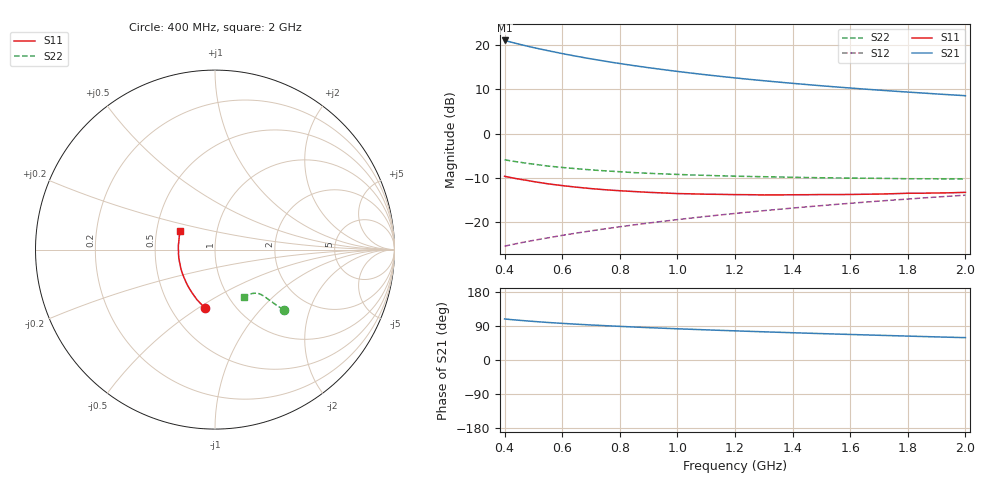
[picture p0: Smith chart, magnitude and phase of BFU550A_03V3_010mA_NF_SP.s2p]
! Filename:  P:\Prog\Test\Noise\ATS_data\Testdata_Net\06 Compressed Noise after Statistics\BFU550A_APG2013_35_C05_03p3V_010mA_NF_CM01_D.sf
! Date/Time: Tue 16/Apr/2013 15:11:28
! BFU550A_APG2013_35_C05_03p3V_1to35mA_NF_CM01_Bias5_R.sf
! Noise Parameter Data File
! BFU550A_APG2013_35_C05_03p3V_1to35mA_NF_CM01
! Date/time: Mon Apr 15 15:23:40 2013
! VAR V_out= 3.300000
! VAR I_out= 9.995000
! VAR V_in= 0.836100
! VAR I_in= 0.109305
! Device data file deembeded for feedlines and parallel
! Original file: \06 Compressed Noise after Statistics\BFU550A_APG2013_35_C05_03p3V_010mA_NF_CM01_R.sf
! Feed-files: PR017V01_150413_Feed1.s2p, PR017V01_150413_Feed2.s2p
! Parallel-file: PR017V01_150413_Par.s2p
# MHz S MA R 50
!  Freq-MHz  S11-mag  S11-arg  S21-mag  S21-arg  S12-mag  S12-arg  S22-mag  S22-arg
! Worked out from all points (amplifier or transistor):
!   37 points, 400 MHz to 2 GHz, reference 50 ohm
!   highest |S21| = 21.0 dB at 400 MHz (marker M1)
!   |S21| within 3 dB of that: start of sweep to 603.4 MHz
!   unconditionally stable (mu >= 1): 1.284 GHz to end of sweep
!   at 500 MHz: K = 0.81, MSG = 21.8 dB, |S12| = -24.1 dB
!   at 1.1 GHz: K = 0.99, MSG = 16.0 dB, |S12| = -18.7 dB
!   at 2 GHz: K = 1.01, MAG = 10.7 dB, |S12| = -13.9 dB
!   lowest NFmin = 0.77 dB at 433 MHz
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400  0.3303 -99.3  11.27 108.3  0.05378 64.5  0.5071 -41.2
420  0.3207 -102.2  10.84 106.8  0.05556 64.6  0.4944 -41.5
440  0.3113 -104.9  10.44 105.5  0.05731 64.7  0.4829 -41.7
460  0.3034 -107.3  10.06 104.2  0.05904 64.8  0.4725 -42.0
500  0.2883 -112.3  9.374 101.8  0.06251 65.0  0.4533 -42.3
550  0.2719 -118.2  8.653 99.0  0.0667 65.4  0.4314 -42.5
600  0.2596 -123.4  8.019 96.7  0.07119 65.8  0.4157 -42.8
650  0.249 -128.5  7.467 94.5  0.07562 66.1  0.4023 -43.1
700  0.2401 -133.2  6.989 92.4  0.08003 66.4  0.3905 -43.3
750  0.2329 -137.8  6.563 90.5  0.0845 66.7  0.3802 -43.4
800  0.227 -142.1  6.191 88.8  0.08903 66.9  0.3721 -43.8
850  0.2223 -146.3  5.857 87.0  0.09351 67.0  0.3636 -44.0
900  0.2178 -150.4  5.556 85.4  0.09806 67.2  0.3572 -44.3
950  0.2144 -154.0  5.288 83.9  0.1026 67.3  0.3518 -44.8
1050  0.2094 -161.0  4.819 81.0  0.1119 67.4  0.3423 -45.4
1150  0.2067 -167.6  4.431 78.2  0.1212 67.4  0.3345 -46.4
1200  0.2052 -170.7  4.261 76.9  0.1259 67.3  0.3318 -47.0
1350  0.2037 -179.1  3.824 73.2  0.14 67.0  0.3246 -48.7
1500  0.2056 172.9  3.472 69.6  0.1543 66.5  0.318 -50.8
1600  0.2061 168.3  3.275 67.4  0.1638 66.1  0.3157 -52.2
1750  0.2102 161.8  3.022 64.2  0.1782 65.4  0.3118 -54.5
2000  0.218 152.4  2.683 59.0  0.2023 63.9  0.3079 -58.9
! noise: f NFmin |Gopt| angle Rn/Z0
400  0.8018  0.0537  -166.5  0.0939
460  0.7871  0.07532  -173.5  0.085
600  0.8799  0.05385  -168.1  0.0982
800  0.8395  0.1095  -173.1  0.0825
1000  0.8573  0.128  -173.4  0.0786
1200  0.8867  0.1507  -163.4  0.0806
1400  0.9617  0.1655  -162.4  0.0747
1600  0.9301  0.2308  -159  0.0694
1800  0.9578  0.2398  -157.3  0.0642
2000  0.9661  0.2724  -155.5  0.062
